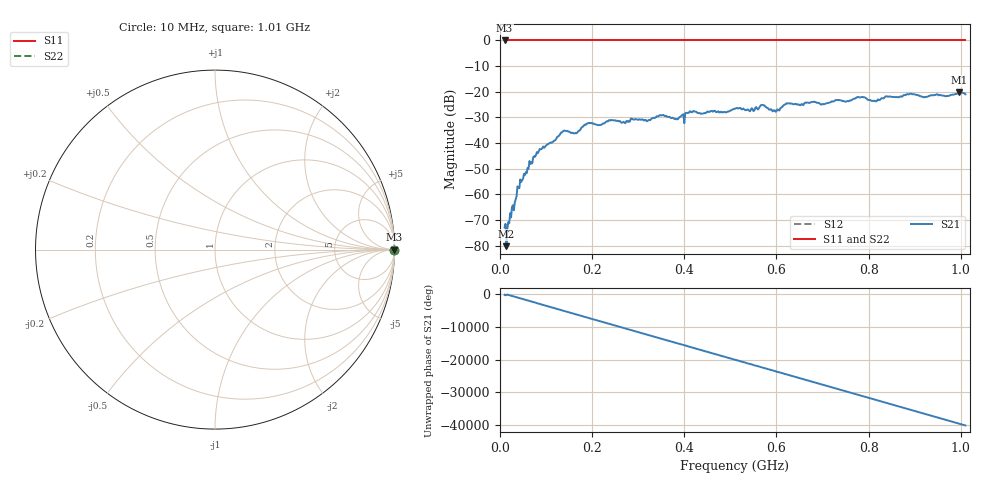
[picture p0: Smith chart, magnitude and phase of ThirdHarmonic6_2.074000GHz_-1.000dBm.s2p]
! 8/17/2025 12:50:35 AM
! C:\ANRITSUVNA\TEMP\TEMP.S2P
! CHANNEL.1
! TR.MEASUREMENT
! RAW.DATA
! RF.CORRECTION.OFF
! AVERAGING.OFF
! IF.BANDWIDTH: 5KHZ
! SWEEPTYPE:  FREQ.SWEEP(Linear)
! Reference Plane Port Info
! PORT:  PORT1  PORT2
! DISTANCE:  0  m  0  m
! TIME:  0  s  0  s
! PHASE.OFFSET:  0  deg.  0  deg.
! LOSS:  0  dB  0  dB
! REF.LOSS:  0  dB  0  dB
! REF.FREQ:  0  Hz  0  Hz
! Power Info
! POWER:  -20  dBm  -20  dBm
! EFF.POWER:  -20  dBm  -20  dBm
! SOURCE.ATTEN:  0  dB  0  dB
! TEST.ATTEN:  0  dB  0  dB
# GHZ S RI R 50.0
! FREQ.GHZ  S11RE  S11IM  S21RE  S21IM  S12RE  S12IM  S22RE  S22IM
!; PortSelection: Port_12
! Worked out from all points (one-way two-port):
!   501 points, 10 MHz to 1.01 GHz, reference 50 ohm
!   highest |S21| = -20.23 dB at 996 MHz (marker M1); lowest = -80.2 dB at 14 MHz (marker M2)
!   lowest |S11| = 0.0 dB at 10 MHz (marker M3)
!   |S11| at or under -10 dB: nowhere
!   |S22| runs from 0.0 to 0.0 dB; largest |S21 - S12| = 1.1
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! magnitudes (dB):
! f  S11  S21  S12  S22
! 10 MHz  0.0  -72.9  0.0  0.0
! 14 MHz  0.0  -80.2  0.0  0.0
! 18 MHz  0.0  -70.8  0.0  0.0
! 42 MHz  0.0  -57.6  0.0  0.0
! 76 MHz  0.0  -45.4  0.0  0.0
! 136 MHz  0.0  -35.6  0.0  0.0
! 164 MHz  0.0  -36.0  0.0  0.0
! 178 MHz  0.0  -33.8  0.0  0.0
! 344 MHz  0.0  -29.6  0.0  0.0
! 382 MHz  0.0  -30.6  0.0  0.0
! 416 MHz  0.0  -28.1  0.0  0.0
! 510 MHz  0.0  -26.6  0.0  0.0
! 546 MHz  0.0  -26.4  0.0  0.0
! 570 MHz  0.0  -25.1  0.0  0.0
! 596 MHz  0.0  -27.2  0.0  0.0
! 624 MHz  0.0  -24.5  0.0  0.0
! 678 MHz  0.0  -24.0  0.0  0.0
! 780 MHz  0.0  -22.2  0.0  0.0
! 814 MHz  0.0  -23.7  0.0  0.0
! 844 MHz  0.0  -21.9  0.0  0.0
! 996 MHz  0.0  -20.2  0.0  0.0
! 1.01 GHz  0.0  -21.0  0.0  0.0
